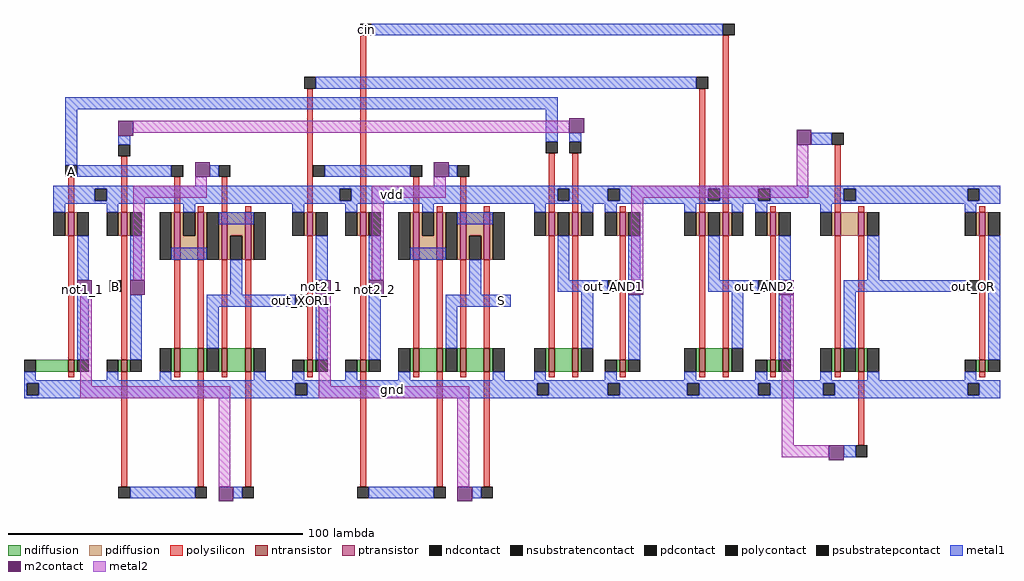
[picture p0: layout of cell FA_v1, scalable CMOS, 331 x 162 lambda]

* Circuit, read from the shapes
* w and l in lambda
.subckt FA_v1 A B S cin cout gnd not1_1 not1_2 not2_1 not2_2 out_AND1 out_AND2 out_OR out_XOR1 vdd
M1 not1_1 A gnd gnd nfet w=4 l=2
M2 not1_2 B gnd gnd nfet w=4 l=2
M3 n1 A gnd gnd nfet w=8 l=2
M4 out_XOR1 B n1 gnd nfet w=8 l=2
M5 n2 not1_2 out_XOR1 gnd nfet w=8 l=2
M6 gnd not1_1 n2 gnd nfet w=8 l=2
M7 not2_1 out_XOR1 gnd gnd nfet w=4 l=2
M8 not2_2 cin gnd gnd nfet w=4 l=2
M9 n3 out_XOR1 gnd gnd nfet w=8 l=2
M10 S cin n3 gnd nfet w=8 l=2
M11 n4 not2_2 S gnd nfet w=8 l=2
M12 gnd not2_1 n4 gnd nfet w=8 l=2
M13 n5 A gnd gnd nfet w=8 l=2
M14 out_AND1 B n5 gnd nfet w=8 l=2
M15 n6 out_AND1 gnd gnd nfet w=4 l=2
M16 n7 out_XOR1 gnd gnd nfet w=8 l=2
M17 out_AND2 cin n7 gnd nfet w=8 l=2
M18 n8 out_AND2 gnd gnd nfet w=4 l=2
M19 out_OR n6 gnd gnd nfet w=8 l=2
M20 gnd n8 out_OR gnd nfet w=8 l=2
M21 cout out_OR gnd gnd nfet w=4 l=2
M22 not1_1 A vdd vdd pfet w=8 l=2
M23 not1_2 B vdd vdd pfet w=8 l=2
M24 vdd A n9 vdd pfet w=16 l=2
M25 n9 B vdd vdd pfet w=16 l=2
M26 out_XOR1 not1_2 n9 vdd pfet w=16 l=2
M27 n9 not1_1 out_XOR1 vdd pfet w=16 l=2
M28 not2_1 out_XOR1 vdd vdd pfet w=8 l=2
M29 not2_2 cin vdd vdd pfet w=8 l=2
M30 vdd out_XOR1 n10 vdd pfet w=16 l=2
M31 n10 cin vdd vdd pfet w=16 l=2
M32 S not2_2 n10 vdd pfet w=16 l=2
M33 n10 not2_1 S vdd pfet w=16 l=2
M34 out_AND1 A vdd vdd pfet w=8 l=2
M35 vdd B out_AND1 vdd pfet w=8 l=2
M36 n6 out_AND1 vdd vdd pfet w=8 l=2
M37 out_AND2 out_XOR1 vdd vdd pfet w=8 l=2
M38 vdd cin out_AND2 vdd pfet w=8 l=2
M39 n8 out_AND2 vdd vdd pfet w=8 l=2
M40 n11 n6 vdd vdd pfet w=8 l=2
M41 out_OR n8 n11 vdd pfet w=8 l=2
M42 cout out_OR vdd vdd pfet w=8 l=2
.ends

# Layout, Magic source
magic
tech scmos
<< polysilicon >>
rect 5 71 7 83
rect 23 71 25 90
rect 41 71 43 83
rect 49 71 51 73
rect 57 71 59 83
rect 65 71 67 73
rect 86 71 88 113
rect 104 71 106 131
rect 122 71 124 83
rect 130 71 132 73
rect 138 71 140 83
rect 146 71 148 73
rect 168 71 170 91
rect 176 71 178 91
rect 192 71 194 73
rect 219 71 221 113
rect 227 71 229 131
rect 243 71 245 73
rect 265 71 267 94
rect 273 71 275 73
rect 314 71 316 73
rect 5 21 7 63
rect 23 21 25 63
rect 41 25 43 55
rect 49 25 51 55
rect 57 25 59 55
rect 65 25 67 55
rect 86 21 88 63
rect 104 21 106 63
rect 122 25 124 55
rect 130 25 132 55
rect 138 25 140 55
rect 146 25 148 55
rect 168 25 170 63
rect 176 25 178 63
rect 192 21 194 63
rect 219 25 221 63
rect 227 25 229 63
rect 243 21 245 63
rect 265 25 267 63
rect 273 25 275 63
rect 314 21 316 63
rect 5 15 7 17
rect 23 -22 25 17
rect 41 15 43 17
rect 49 -22 51 17
rect 57 15 59 17
rect 65 -22 67 17
rect 86 15 88 17
rect 104 -22 106 17
rect 122 15 124 17
rect 130 -22 132 17
rect 138 15 140 17
rect 146 -22 148 17
rect 168 15 170 17
rect 176 15 178 17
rect 192 15 194 17
rect 219 15 221 17
rect 227 15 229 17
rect 243 15 245 17
rect 265 15 267 17
rect 273 -8 275 17
rect 314 15 316 17
<< ndiffusion >>
rect -6 17 5 21
rect 7 17 8 21
rect 22 17 23 21
rect 25 17 26 21
rect 40 17 41 25
rect 43 17 49 25
rect 51 17 52 25
rect 56 17 57 25
rect 59 17 65 25
rect 67 17 68 25
rect 85 17 86 21
rect 88 17 89 21
rect 103 17 104 21
rect 106 17 107 21
rect 121 17 122 25
rect 124 17 130 25
rect 132 17 133 25
rect 137 17 138 25
rect 140 17 146 25
rect 148 17 149 25
rect 167 17 168 25
rect 170 17 176 25
rect 178 17 179 25
rect 191 17 192 21
rect 194 17 195 21
rect 218 17 219 25
rect 221 17 227 25
rect 229 17 230 25
rect 242 17 243 21
rect 245 17 246 21
rect 264 17 265 25
rect 267 17 268 25
rect 272 17 273 25
rect 275 17 276 25
rect 313 17 314 21
rect 316 17 317 21
<< pdiffusion >>
rect 4 63 5 71
rect 7 63 8 71
rect 22 63 23 71
rect 25 63 26 71
rect 40 55 41 71
rect 43 63 44 71
rect 48 63 49 71
rect 43 55 49 63
rect 51 55 52 71
rect 56 55 57 71
rect 59 63 65 71
rect 59 55 60 63
rect 64 55 65 63
rect 67 55 68 71
rect 85 63 86 71
rect 88 63 89 71
rect 103 63 104 71
rect 106 63 107 71
rect 121 55 122 71
rect 124 63 125 71
rect 129 63 130 71
rect 124 55 130 63
rect 132 55 133 71
rect 137 55 138 71
rect 140 63 146 71
rect 140 55 141 63
rect 145 55 146 63
rect 148 55 149 71
rect 167 63 168 71
rect 170 63 171 71
rect 175 63 176 71
rect 178 63 179 71
rect 191 63 192 71
rect 194 63 195 71
rect 218 63 219 71
rect 221 63 222 71
rect 226 63 227 71
rect 229 63 230 71
rect 242 63 243 71
rect 245 63 246 71
rect 264 63 265 71
rect 267 63 273 71
rect 275 63 276 71
rect 313 63 314 71
rect 316 63 317 71
<< metal1 >>
rect 108 131 227 135
rect 89 113 218 117
rect 4 106 171 110
rect 4 87 8 106
rect 22 94 26 97
rect 167 95 171 106
rect 175 95 179 98
rect 257 94 264 98
rect 8 83 40 87
rect 53 83 56 87
rect 92 83 121 87
rect 134 83 137 87
rect 0 79 321 80
rect 0 75 14 79
rect 18 75 97 79
rect 101 75 171 79
rect 175 75 188 79
rect 192 75 222 79
rect 226 75 239 79
rect 243 75 268 79
rect 272 75 310 79
rect 314 75 321 79
rect 0 74 321 75
rect 0 71 4 74
rect 18 71 22 74
rect 44 71 48 74
rect 81 71 85 74
rect 99 71 103 74
rect 125 71 129 74
rect 163 71 167 74
rect 179 71 183 74
rect 8 48 12 63
rect 26 48 30 63
rect 40 55 52 59
rect 56 67 68 71
rect 60 43 64 55
rect 89 48 93 63
rect 107 48 111 63
rect 121 55 133 59
rect 137 67 149 71
rect 187 71 191 74
rect 214 71 218 74
rect 230 71 234 74
rect 238 71 242 74
rect 260 71 264 74
rect 309 71 313 74
rect 141 43 145 55
rect 171 48 175 63
rect 195 48 199 63
rect 222 48 226 63
rect 246 48 250 63
rect 276 48 280 63
rect 171 44 188 48
rect 8 21 12 43
rect 26 21 30 43
rect 52 39 82 43
rect 52 25 56 39
rect 89 21 93 43
rect 107 21 111 43
rect 133 39 155 43
rect 133 25 137 39
rect 179 25 183 44
rect -10 14 -6 17
rect 18 14 22 17
rect 36 14 40 17
rect 68 14 72 17
rect 81 14 85 17
rect 99 14 103 17
rect 117 14 121 17
rect 149 14 153 17
rect 222 44 239 48
rect 195 21 199 43
rect 230 25 234 44
rect 268 44 310 48
rect 246 21 250 43
rect 268 25 272 44
rect 317 21 321 63
rect 163 14 167 17
rect 187 14 191 17
rect 214 14 218 17
rect 238 14 242 17
rect 260 14 264 17
rect 276 14 280 17
rect 309 14 313 17
rect -10 13 321 14
rect -10 9 -9 13
rect -5 9 82 13
rect 86 9 164 13
rect 168 9 188 13
rect 192 9 215 13
rect 219 9 239 13
rect 243 9 261 13
rect 265 9 310 13
rect 314 9 321 13
rect -10 8 321 9
rect 268 -12 272 -8
rect 26 -26 48 -22
rect 61 -26 64 -22
rect 107 -26 129 -22
rect 142 -26 145 -22
<< metal2 >>
rect 27 98 175 102
rect 48 80 52 83
rect 129 80 133 83
rect 252 80 256 94
rect 27 76 52 80
rect 108 76 133 80
rect 196 76 256 80
rect 27 48 31 76
rect 108 48 112 76
rect 196 48 200 76
rect 9 12 13 43
rect 90 12 94 43
rect 9 8 60 12
rect 90 8 141 12
rect 56 -22 60 8
rect 137 -22 141 8
rect 247 -8 251 43
rect 247 -12 263 -8
<< ntransistor >>
rect 5 17 7 21
rect 23 17 25 21
rect 41 17 43 25
rect 49 17 51 25
rect 57 17 59 25
rect 65 17 67 25
rect 86 17 88 21
rect 104 17 106 21
rect 122 17 124 25
rect 130 17 132 25
rect 138 17 140 25
rect 146 17 148 25
rect 168 17 170 25
rect 176 17 178 25
rect 192 17 194 21
rect 219 17 221 25
rect 227 17 229 25
rect 243 17 245 21
rect 265 17 267 25
rect 273 17 275 25
rect 314 17 316 21
<< ptransistor >>
rect 5 63 7 71
rect 23 63 25 71
rect 41 55 43 71
rect 49 55 51 71
rect 57 55 59 71
rect 65 55 67 71
rect 86 63 88 71
rect 104 63 106 71
rect 122 55 124 71
rect 130 55 132 71
rect 138 55 140 71
rect 146 55 148 71
rect 168 63 170 71
rect 176 63 178 71
rect 192 63 194 71
rect 219 63 221 71
rect 227 63 229 71
rect 243 63 245 71
rect 265 63 267 71
rect 273 63 275 71
rect 314 63 316 71
<< polycontact >>
rect 104 131 108 135
rect 227 131 231 135
rect 85 113 89 117
rect 22 90 26 94
rect 4 83 8 87
rect 40 83 44 87
rect 56 83 60 87
rect 88 83 92 87
rect 218 113 222 117
rect 167 91 171 95
rect 175 91 179 95
rect 121 83 125 87
rect 137 83 141 87
rect 264 94 268 98
rect 19 44 23 48
rect 82 39 86 43
rect 188 44 192 48
rect 239 44 243 48
rect 310 44 314 48
rect 272 -12 276 -8
rect 22 -26 26 -22
rect 48 -26 52 -22
rect 64 -26 68 -22
rect 103 -26 107 -22
rect 129 -26 133 -22
rect 145 -26 149 -22
<< ndcontact >>
rect -10 17 -6 21
rect 8 17 12 21
rect 18 17 22 21
rect 26 17 30 21
rect 36 17 40 25
rect 52 17 56 25
rect 68 17 72 25
rect 81 17 85 21
rect 89 17 93 21
rect 99 17 103 21
rect 107 17 111 21
rect 117 17 121 25
rect 133 17 137 25
rect 149 17 153 25
rect 163 17 167 25
rect 179 17 183 25
rect 187 17 191 21
rect 195 17 199 21
rect 214 17 218 25
rect 230 17 234 25
rect 238 17 242 21
rect 246 17 250 21
rect 260 17 264 25
rect 268 17 272 25
rect 276 17 280 25
rect 309 17 313 21
rect 317 17 321 21
<< pdcontact >>
rect 0 63 4 71
rect 8 63 12 71
rect 18 63 22 71
rect 26 63 30 71
rect 36 55 40 71
rect 44 63 48 71
rect 52 55 56 71
rect 60 55 64 63
rect 68 55 72 71
rect 81 63 85 71
rect 89 63 93 71
rect 99 63 103 71
rect 107 63 111 71
rect 117 55 121 71
rect 125 63 129 71
rect 133 55 137 71
rect 141 55 145 63
rect 149 55 153 71
rect 163 63 167 71
rect 171 63 175 71
rect 179 63 183 71
rect 187 63 191 71
rect 195 63 199 71
rect 214 63 218 71
rect 222 63 226 71
rect 230 63 234 71
rect 238 63 242 71
rect 246 63 250 71
rect 260 63 264 71
rect 276 63 280 71
rect 309 63 313 71
rect 317 63 321 71
<< m2contact >>
rect 22 97 27 102
rect 175 98 180 103
rect 252 94 257 99
rect 48 83 53 88
rect 129 83 134 88
rect 8 43 13 48
rect 26 43 31 48
rect 89 43 94 48
rect 107 43 112 48
rect 195 43 200 48
rect 246 43 251 48
rect 263 -13 268 -8
rect 56 -27 61 -22
rect 137 -27 142 -22
<< psubstratepcontact >>
rect -9 9 -5 13
rect 82 9 86 13
rect 164 9 168 13
rect 188 9 192 13
rect 215 9 219 13
rect 239 9 243 13
rect 261 9 265 13
rect 310 9 314 13
<< nsubstratencontact >>
rect 14 75 18 79
rect 97 75 101 79
rect 171 75 175 79
rect 188 75 192 79
rect 222 75 226 79
rect 239 75 243 79
rect 268 75 272 79
rect 310 75 314 79
<< labels >>
rlabel metal1 115 77 115 77 5 vdd
rlabel metal1 115 11 115 11 1 gnd
rlabel metal1 152 41 152 41 1 S
rlabel polycontact 6 85 6 85 1 A
rlabel polycontact 21 46 21 46 1 B
rlabel m2contact 10 45 10 45 1 not1_1
rlabel m2contact 28 45 28 45 1 not1_2
rlabel m2contact 91 46 91 46 1 not2_1
rlabel m2contact 109 45 109 45 1 not2_2
rlabel polycontact 84 41 84 41 1 out_XOR1
rlabel polycontact 190 46 190 46 1 out_AND1
rlabel polycontact 241 46 241 46 1 out_AND2
rlabel polycontact 106 133 106 133 5 cin
rlabel polycontact 312 46 312 46 1 out_OR
rlabel metal1 319 46 319 46 7 cout
<< end >>
